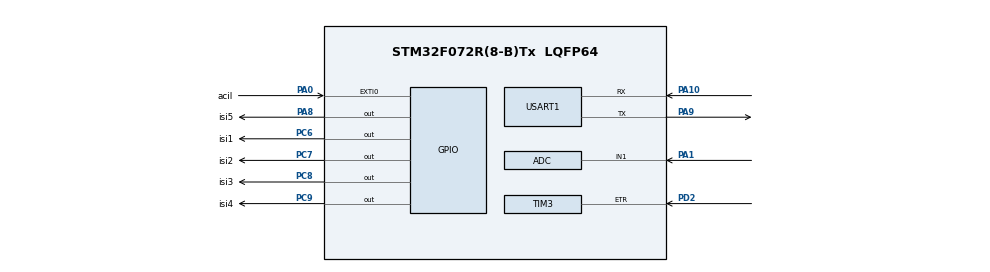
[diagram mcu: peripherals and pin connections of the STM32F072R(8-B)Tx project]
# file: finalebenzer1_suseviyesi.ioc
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Mcu.Family=STM32F0
Mcu.Name=STM32F072R(8-B)Tx
Mcu.Package=LQFP64
NVIC.TIM2_IRQn=true\:0\:0\:false\:false\:true\:true\:true\:true
NVIC.TIM3_IRQn=true\:0\:0\:false\:false\:true\:true\:true\:true
NVIC.USART1_IRQn=true\:0\:0\:false\:false\:true\:true\:true\:true
PA0.GPIO_Label=acil
PA0.Signal=GPXTI0
PA1.Mode=IN1
PA1.Signal=ADC_IN1
PA10.Mode=Asynchronous
PA10.Signal=USART1_RX
PA8.GPIO_Label=isi5
PA8.Signal=GPIO_Output
PA9.Mode=Asynchronous
PA9.Signal=USART1_TX
PC6.GPIO_Label=isi1
PC6.Signal=GPIO_Output
PC7.GPIO_Label=isi2
PC7.Signal=GPIO_Output
PC8.GPIO_Label=isi3
PC8.Signal=GPIO_Output
PC9.GPIO_Label=isi4
PC9.Signal=GPIO_Output
PD2.Signal=S_TIM3_ETR
ProjectManager.HeapSize=0x200
ProjectManager.StackSize=0x400
ProjectManager.TargetToolchain=STM32CubeIDE
SH.S_TIM3_ETR.0=TIM3_ETR,ClockSourceETR_Mode2
USART1.VirtualMode-Asynchronous=VM_ASYNC
VP_TIM2_VS_ClockSourceINT.Mode=Internal
board=custom

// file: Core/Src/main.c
/* USER CODE BEGIN Header */
/**
  ******************************************************************************
  * @file           : main.c
  * @brief          : Main program body
  ******************************************************************************
  * @attention
  *
  * Copyright (c) 2026 STMicroelectronics.
  * All rights reserved.
  *
  * This software is licensed under terms that can be found in the LICENSE file
  * in the root directory of this software component.
  * If no LICENSE file comes with this software, it is provided AS-IS.
  *
  ******************************************************************************
  */
/* USER CODE END Header */
#include "main.h"

ADC_HandleTypeDef hadc;

TIM_HandleTypeDef htim2;
TIM_HandleTypeDef htim3;

UART_HandleTypeDef huart1;

void SystemClock_Config(void);
static void MX_GPIO_Init(void);
static void MX_ADC_Init(void);
static void MX_TIM2_Init(void);
static void MX_TIM3_Init(void);
static void MX_USART1_UART_Init(void);

/* USER CODE BEGIN 0 */

#include <string.h>
#include <stdio.h>

/* UART’tan gelen 1 byte */
volatile uint8_t uart_byte;

/* 2 harflik komut (ör: 'A''C') */
volatile uint8_t k1 = 0, k2 = 0;     // 1. ve 2. karakter
volatile uint8_t komutHazir = 0;     // 2 karakter tamam mı?

/* ADC değişkenleri */
uint32_t adc_degeri = 0;
uint32_t su_seviyesi = 0;            // %0-100
uint32_t normal_seviye = 50;         // örnek eşik (%)

/* bekle() için */
volatile uint32_t saniye = 0;
volatile uint32_t dakika = 0;
volatile uint8_t acil_flag=0;

void bekle(int sure);

/* USER CODE END 0 */

int main(void)
{

  /* MCU Configuration--------------------------------------------------------*/

  /* Reset of all peripherals, Initializes the Flash interface and the Systick. */
  HAL_Init();

  /* Configure the system clock */
  SystemClock_Config();

  /* Initialize all configured peripherals */
  MX_GPIO_Init();
  MX_ADC_Init();
  MX_TIM2_Init();
  MX_TIM3_Init();
  MX_USART1_UART_Init();
  /* USER CODE BEGIN 2 */

  /* ADC başlat (polling okuyacağız) */
  HAL_ADC_Start(&hadc);

  /* TIM2 kesme başlat (bekle() çalışsın diye) */
  HAL_TIM_Base_Start_IT(&htim2);

  /* UART kesmeli 1 byte almayı başlat (hocanın yaptığı) */
  HAL_UART_Receive_IT(&huart1, (uint8_t*)&uart_byte, 1);

  /* USER CODE END 2 */

  /* Infinite loop */
  /* USER CODE BEGIN WHILE */
  while (1)
  {

	    /* ===== ACİL BUTON KONTROLÜ (SADECE BU EKLENDİ) ===== */
	    if(acil_flag)
	    {
	      HAL_GPIO_WritePin(isi1_GPIO_Port, isi1_Pin, GPIO_PIN_RESET);
	      HAL_GPIO_WritePin(isi2_GPIO_Port, isi2_Pin, GPIO_PIN_RESET);
	      HAL_GPIO_WritePin(isi3_GPIO_Port, isi3_Pin, GPIO_PIN_RESET);
	      HAL_GPIO_WritePin(isi4_GPIO_Port, isi4_Pin, GPIO_PIN_RESET);
	      HAL_GPIO_WritePin(isi5_GPIO_Port, isi5_Pin, GPIO_PIN_RESET);
	      continue;   // sistem tamamen durur
	    }
	    /* ================================================== */

	    /* ---- ESKİ UART + ADC KODUN (AYNEN) ---- */
	    if(komutHazir)
	    {
	      komutHazir = 0;

	      HAL_ADC_PollForConversion(&hadc, 1000);
	      adc_degeri  = HAL_ADC_GetValue(&hadc);
	      su_seviyesi = (adc_degeri * 100) / 4095;

	      if(k1=='A' && k2=='C')
	      {
	        if(su_seviyesi > (uint32_t)(normal_seviye * 1.25f))
	        {
	          HAL_GPIO_WritePin(isi1_GPIO_Port, isi1_Pin, GPIO_PIN_SET);
	          HAL_GPIO_WritePin(isi2_GPIO_Port, isi2_Pin, GPIO_PIN_SET);
	          HAL_GPIO_WritePin(isi3_GPIO_Port, isi3_Pin, GPIO_PIN_SET);
	          HAL_GPIO_WritePin(isi4_GPIO_Port, isi4_Pin, GPIO_PIN_SET);
	          HAL_GPIO_WritePin(isi5_GPIO_Port, isi5_Pin, GPIO_PIN_SET);

	          bekle(1);

	          HAL_GPIO_WritePin(isi1_GPIO_Port, isi1_Pin, GPIO_PIN_RESET);
	          HAL_GPIO_WritePin(isi2_GPIO_Port, isi2_Pin, GPIO_PIN_RESET);
	          HAL_GPIO_WritePin(isi3_GPIO_Port, isi3_Pin, GPIO_PIN_RESET);
	          HAL_GPIO_WritePin(isi4_GPIO_Port, isi4_Pin, GPIO_PIN_RESET);
	          HAL_GPIO_WritePin(isi5_GPIO_Port, isi5_Pin, GPIO_PIN_RESET);
	        }
	      }

	      k1 = 0;
	      k2 = 0;
	    }

    /* USER CODE END WHILE */

  }
}

void SystemClock_Config(void)
{
  RCC_OscInitTypeDef RCC_OscInitStruct = {0};
  RCC_ClkInitTypeDef RCC_ClkInitStruct = {0};
  RCC_PeriphCLKInitTypeDef PeriphClkInit = {0};

  /** Initializes the RCC Oscillators according to the specified parameters
  * in the RCC_OscInitTypeDef structure.
  */
  RCC_OscInitStruct.OscillatorType = RCC_OSCILLATORTYPE_HSI|RCC_OSCILLATORTYPE_HSI14;
  RCC_OscInitStruct.HSIState = RCC_HSI_ON;
  RCC_OscInitStruct.HSI14State = RCC_HSI14_ON;
  RCC_OscInitStruct.HSICalibrationValue = RCC_HSICALIBRATION_DEFAULT;
  RCC_OscInitStruct.HSI14CalibrationValue = 16;
  RCC_OscInitStruct.PLL.PLLState = RCC_PLL_NONE;
  if (HAL_RCC_OscConfig(&RCC_OscInitStruct) != HAL_OK)
  {
    Error_Handler();
  }

  /** Initializes the CPU, AHB and APB buses clocks
  */
  RCC_ClkInitStruct.ClockType = RCC_CLOCKTYPE_HCLK|RCC_CLOCKTYPE_SYSCLK
                              |RCC_CLOCKTYPE_PCLK1;
  RCC_ClkInitStruct.SYSCLKSource = RCC_SYSCLKSOURCE_HSI;
  RCC_ClkInitStruct.AHBCLKDivider = RCC_SYSCLK_DIV1;
  RCC_ClkInitStruct.APB1CLKDivider = RCC_HCLK_DIV1;

  if (HAL_RCC_ClockConfig(&RCC_ClkInitStruct, FLASH_LATENCY_0) != HAL_OK)
  {
    Error_Handler();
  }
  PeriphClkInit.PeriphClockSelection = RCC_PERIPHCLK_USART1;
  PeriphClkInit.Usart1ClockSelection = RCC_USART1CLKSOURCE_PCLK1;
  if (HAL_RCCEx_PeriphCLKConfig(&PeriphClkInit) != HAL_OK)
  {
    Error_Handler();
  }
}

static void MX_ADC_Init(void)
{

  ADC_ChannelConfTypeDef sConfig = {0};

  /** Configure the global features of the ADC (Clock, Resolution, Data Alignment and number of conversion)
  */
  hadc.Instance = ADC1;
  hadc.Init.ClockPrescaler = ADC_CLOCK_ASYNC_DIV1;
  hadc.Init.Resolution = ADC_RESOLUTION_12B;
  hadc.Init.DataAlign = ADC_DATAALIGN_RIGHT;
  hadc.Init.ScanConvMode = ADC_SCAN_DIRECTION_FORWARD;
  hadc.Init.EOCSelection = ADC_EOC_SINGLE_CONV;
  hadc.Init.LowPowerAutoWait = DISABLE;
  hadc.Init.LowPowerAutoPowerOff = DISABLE;
  hadc.Init.ContinuousConvMode = DISABLE;
  hadc.Init.DiscontinuousConvMode = DISABLE;
  hadc.Init.ExternalTrigConv = ADC_SOFTWARE_START;
  hadc.Init.ExternalTrigConvEdge = ADC_EXTERNALTRIGCONVEDGE_NONE;
  hadc.Init.DMAContinuousRequests = DISABLE;
  hadc.Init.Overrun = ADC_OVR_DATA_PRESERVED;
  if (HAL_ADC_Init(&hadc) != HAL_OK)
  {
    Error_Handler();
  }

  /** Configure for the selected ADC regular channel to be converted.
  */
  sConfig.Channel = ADC_CHANNEL_1;
  sConfig.Rank = ADC_RANK_CHANNEL_NUMBER;
  sConfig.SamplingTime = ADC_SAMPLETIME_1CYCLE_5;
  if (HAL_ADC_ConfigChannel(&hadc, &sConfig) != HAL_OK)
  {
    Error_Handler();
  }

}

static void MX_TIM2_Init(void)
{

  TIM_ClockConfigTypeDef sClockSourceConfig = {0};
  TIM_MasterConfigTypeDef sMasterConfig = {0};

  htim2.Instance = TIM2;
  htim2.Init.Prescaler = 0;
  htim2.Init.CounterMode = TIM_COUNTERMODE_UP;
  htim2.Init.Period = 4294967295;
  htim2.Init.ClockDivision = TIM_CLOCKDIVISION_DIV1;
  htim2.Init.AutoReloadPreload = TIM_AUTORELOAD_PRELOAD_DISABLE;
  if (HAL_TIM_Base_Init(&htim2) != HAL_OK)
  {
    Error_Handler();
  }
  sClockSourceConfig.ClockSource = TIM_CLOCKSOURCE_INTERNAL;
  if (HAL_TIM_ConfigClockSource(&htim2, &sClockSourceConfig) != HAL_OK)
  {
    Error_Handler();
  }
  sMasterConfig.MasterOutputTrigger = TIM_TRGO_RESET;
  sMasterConfig.MasterSlaveMode = TIM_MASTERSLAVEMODE_DISABLE;
  if (HAL_TIMEx_MasterConfigSynchronization(&htim2, &sMasterConfig) != HAL_OK)
  {
    Error_Handler();
  }

}

static void MX_TIM3_Init(void)
{

  TIM_ClockConfigTypeDef sClockSourceConfig = {0};
  TIM_MasterConfigTypeDef sMasterConfig = {0};

  htim3.Instance = TIM3;
  htim3.Init.Prescaler = 0;
  htim3.Init.CounterMode = TIM_COUNTERMODE_UP;
  htim3.Init.Period = 65535;
  htim3.Init.ClockDivision = TIM_CLOCKDIVISION_DIV1;
  htim3.Init.AutoReloadPreload = TIM_AUTORELOAD_PRELOAD_DISABLE;
  if (HAL_TIM_Base_Init(&htim3) != HAL_OK)
  {
    Error_Handler();
  }
  sClockSourceConfig.ClockSource = TIM_CLOCKSOURCE_ETRMODE2;
  sClockSourceConfig.ClockPolarity = TIM_CLOCKPOLARITY_NONINVERTED;
  sClockSourceConfig.ClockPrescaler = TIM_CLOCKPRESCALER_DIV1;
  sClockSourceConfig.ClockFilter = 0;
  if (HAL_TIM_ConfigClockSource(&htim3, &sClockSourceConfig) != HAL_OK)
  {
    Error_Handler();
  }
  sMasterConfig.MasterOutputTrigger = TIM_TRGO_RESET;
  sMasterConfig.MasterSlaveMode = TIM_MASTERSLAVEMODE_DISABLE;
  if (HAL_TIMEx_MasterConfigSynchronization(&htim3, &sMasterConfig) != HAL_OK)
  {
    Error_Handler();
  }

}

static void MX_USART1_UART_Init(void)
{

  huart1.Instance = USART1;
  huart1.Init.BaudRate = 38400;
  huart1.Init.WordLength = UART_WORDLENGTH_8B;
  huart1.Init.StopBits = UART_STOPBITS_1;
  huart1.Init.Parity = UART_PARITY_NONE;
  huart1.Init.Mode = UART_MODE_TX_RX;
  huart1.Init.HwFlowCtl = UART_HWCONTROL_NONE;
  huart1.Init.OverSampling = UART_OVERSAMPLING_16;
  huart1.Init.OneBitSampling = UART_ONE_BIT_SAMPLE_DISABLE;
  huart1.AdvancedInit.AdvFeatureInit = UART_ADVFEATURE_NO_INIT;
  if (HAL_UART_Init(&huart1) != HAL_OK)
  {
    Error_Handler();
  }

}

static void MX_GPIO_Init(void)
{
  GPIO_InitTypeDef GPIO_InitStruct = {0};

  /* GPIO Ports Clock Enable */
  __HAL_RCC_GPIOA_CLK_ENABLE();
  __HAL_RCC_GPIOC_CLK_ENABLE();
  __HAL_RCC_GPIOD_CLK_ENABLE();

  /*Configure GPIO pin Output Level */
  HAL_GPIO_WritePin(GPIOC, isi1_Pin|isi2_Pin|isi3_Pin|isi4_Pin, GPIO_PIN_RESET);

  /*Configure GPIO pin Output Level */
  HAL_GPIO_WritePin(isi5_GPIO_Port, isi5_Pin, GPIO_PIN_RESET);

  /*Configure GPIO pin : acil_Pin */
  GPIO_InitStruct.Pin = acil_Pin;
  GPIO_InitStruct.Mode = GPIO_MODE_IT_RISING;
  GPIO_InitStruct.Pull = GPIO_NOPULL;
  HAL_GPIO_Init(acil_GPIO_Port, &GPIO_InitStruct);

  /*Configure GPIO pins : isi1_Pin isi2_Pin isi3_Pin isi4_Pin */
  GPIO_InitStruct.Pin = isi1_Pin|isi2_Pin|isi3_Pin|isi4_Pin;
  GPIO_InitStruct.Mode = GPIO_MODE_OUTPUT_PP;
  GPIO_InitStruct.Pull = GPIO_NOPULL;
  GPIO_InitStruct.Speed = GPIO_SPEED_FREQ_LOW;
  HAL_GPIO_Init(GPIOC, &GPIO_InitStruct);

  /*Configure GPIO pin : isi5_Pin */
  GPIO_InitStruct.Pin = isi5_Pin;
  GPIO_InitStruct.Mode = GPIO_MODE_OUTPUT_PP;
  GPIO_InitStruct.Pull = GPIO_NOPULL;
  GPIO_InitStruct.Speed = GPIO_SPEED_FREQ_LOW;
  HAL_GPIO_Init(isi5_GPIO_Port, &GPIO_InitStruct);

}

/* USER CODE BEGIN 4 */

/* UART KESMESİ – HOCANIN YAPTIĞI GİBİ */
void HAL_UART_RxCpltCallback(UART_HandleTypeDef *huart)
{
  if(huart->Instance == USART1)
  {
    static uint8_t say = 0;

    if(say == 0) { k1 = (char)uart_byte; say = 1; }
    else         { k2 = (char)uart_byte; say = 0; komutHazir = 1; }

    HAL_UART_Receive_IT(&huart1, (uint8_t*)&uart_byte, 1);
  }
}

/* ACİL BUTON KESMESİ (SADECE BU EKLENDİ) */
void HAL_GPIO_EXTI_Callback(uint16_t GPIO_Pin)
{
  if(GPIO_Pin == acil_Pin)   // CubeMX’te hangi isimse
  {
    acil_flag = 1;
  }
}

/* TIMER – BEKLE */
void HAL_TIM_PeriodElapsedCallback(TIM_HandleTypeDef *htim)
{
  if(htim->Instance == TIM2)
  {
    saniye++;
    if(saniye >= 60)
    {
      saniye = 0;
      dakika++;
    }
  }
}

void bekle(int sure)
{
  saniye = 0;
  dakika = 0;
  while(dakika < (uint32_t)sure);
}
/* USER CODE END 4 */

void Error_Handler(void)
{
  __disable_irq();
  while (1)
  {
  }
}
